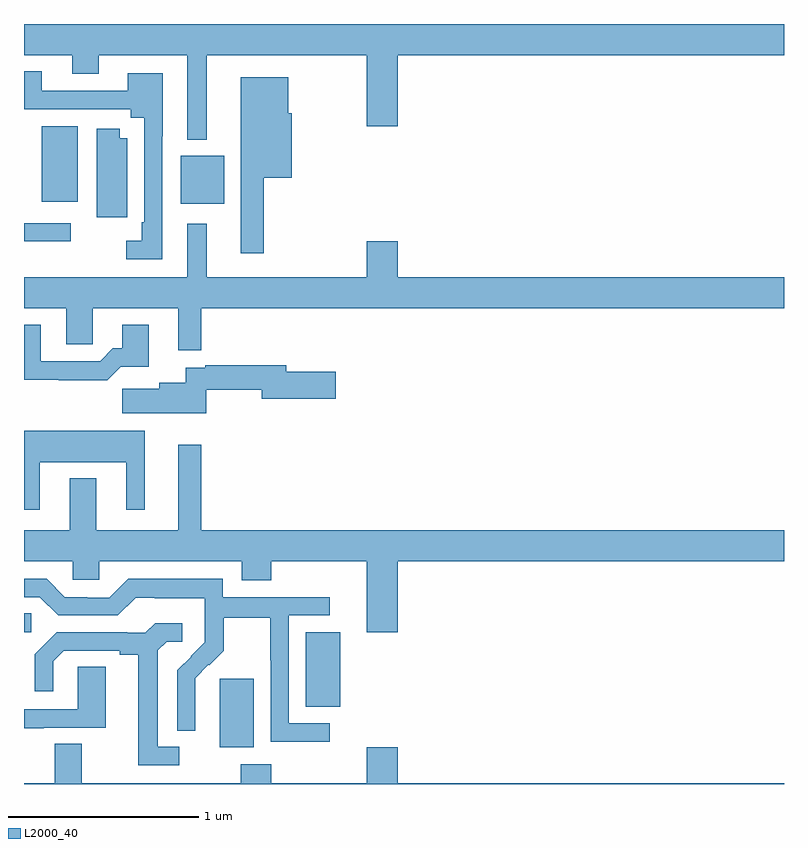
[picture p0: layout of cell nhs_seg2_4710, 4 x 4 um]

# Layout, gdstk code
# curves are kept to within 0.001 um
import gdstk
lib = gdstk.Library(unit=1e-6, precision=1e-09)
def R(c, l, rs):  # rectangles x0, y0, x1, y1
    for r in rs: c.add(gdstk.rectangle(r[:2], r[2:], *l))
def P(c, l, *ps):  # polygons
    for p in ps: c.add(gdstk.Polygon(p, *l))
L2000_40 = (2000, 40)

nhs_seg2_4710 = lib.new_cell('nhs_seg2_4710')
R(nhs_seg2_4710, L2000_40, [(368.03,643.994,368.209,644.355), (368.483,644.206,368.665,644.599), (367,644.598,367.039,644.699), (367,646.656,367.246,646.752), (367.826,646.853,368.053,647.107), (367.094,646.865,367.282,647.263)])
P(nhs_seg2_4710, L2000_40, [(367.963,647.636),(368.804,647.636),(368.804,647.262),(368.968,647.262),(368.968,647.636),(371,647.636),(371,647.8),(367,647.8),(367,647.636),(367.253,647.636),(367.253,647.537),(367.393,647.537),(367.393,647.636),(367.859,647.636),(367.859,647.192),(367.963,647.192)],
  [(367.728,647.21),(367.729,647.21),(367.729,647.542),(367.547,647.542),(367.547,647.448),(367.093,647.448),(367.093,647.551),(367,647.551),(367,647.352),(367.562,647.352),(367.562,647.306),(367.632,647.306),(367.632,646.756),(367.62,646.756),(367.62,646.659),(367.539,646.659),(367.539,646.563),(367.728,646.563)],
  [(368.263,646.991),(368.41,646.991),(368.41,647.331),(368.392,647.331),(368.392,647.521),(368.141,647.521),(368.141,646.593),(368.263,646.593)],
  [(367.543,647.2),(367.504,647.2),(367.504,647.249),(367.382,647.249),(367.382,646.782),(367.543,646.782)],
  [(367.933,646.304),(371,646.304),(371,646.468),(368.968,646.468),(368.968,646.657),(368.804,646.657),(368.804,646.468),(367.963,646.468),(367.963,646.75),(367.859,646.75),(367.859,646.468),(367,646.468),(367,646.304),(367.223,646.304),(367.223,646.114),(367.362,646.114),(367.362,646.304),(367.811,646.304),(367.811,646.083),(367.933,646.083)],
  [(367.508,645.995),(367.657,645.995),(367.657,646.216),(367.517,646.216),(367.517,646.093),(367.468,646.093),(367.401,646.026),(367.087,646.026),(367.087,646.216),(367,646.216),(367,645.928),(367.183,645.928),(367.183,645.926),(367.439,645.926)],
  [(367.96,645.874),(368.252,645.874),(368.252,645.827),(368.641,645.827),(368.641,645.969),(368.38,645.969),(368.38,646.003),(367.954,646.003),(367.954,645.99),(367.85,645.99),(367.85,645.913),(367.712,645.913),(367.712,645.881),(367.518,645.881),(367.518,645.752),(367.96,645.752)],
  [(367.084,645.494),(367.538,645.494),(367.538,645.243),(367.636,645.243),(367.636,645.658),(367,645.658),(367,645.243),(367.084,645.243)],
  [(368.968,644.972),(371,644.972),(371,645.136),(367.933,645.136),(367.933,645.586),(367.811,645.586),(367.811,645.136),(367.381,645.136),(367.381,645.409),(367.241,645.409),(367.241,645.136),(367,645.136),(367,644.972),(367.257,644.972),(367.257,644.874),(367.395,644.874),(367.395,644.972),(368.147,644.972),(368.147,644.873),(368.3,644.873),(368.3,644.972),(368.804,644.972),(368.804,644.598),(368.968,644.598)],
  [(368.608,644.121),(368.394,644.121),(368.394,644.688),(368.608,644.688),(368.608,644.784),(368.046,644.784),(368.046,644.881),(367.549,644.881),(367.449,644.781),(367.334,644.781),(367.334,644.784),(367.215,644.784),(367.119,644.88),(367,644.88),(367,644.784),(367.083,644.784),(367.179,644.688),(367.494,644.688),(367.587,644.781),(367.687,644.781),(367.687,644.777),(367.95,644.777),(367.95,644.643),(367.952,644.643),(367.952,644.546),(367.806,644.398),(367.806,644.08),(367.902,644.08),(367.901,644.357),(367.971,644.427),(367.974,644.424),(368.051,644.501),(368.051,644.676),(368.296,644.676),(368.296,644.452),(368.298,644.452),(368.298,644.023),(368.608,644.023)],
  [(367.816,643.995),(367.705,643.995),(367.705,644.503),(367.752,644.55),(367.834,644.55),(367.834,644.647),(367.69,644.647),(367.638,644.595),(367.544,644.595),(367.544,644.598),(367.172,644.598),(367.056,644.482),(367.056,644.289),(367.153,644.289),(367.153,644.445),(367.21,644.502),(367.505,644.502),(367.505,644.48),(367.601,644.48),(367.601,643.899),(367.816,643.899)],
  [(367.105,644.097),(367.429,644.097),(367.429,644.417),(367.284,644.417),(367.284,644.193),(367,644.193),(367,644.093),(367.105,644.093)],
  [(371,643.804),(368.968,643.804),(368.968,643.993),(368.804,643.993),(368.804,643.804),(368.3,643.804),(368.3,643.903),(368.14,643.903),(368.14,643.804),(367.303,643.804),(367.303,644.012),(367.163,644.012),(367.163,643.804),(367,643.804),(367,643.8),(371,643.8)])

lib.write_gds('nhs_seg2_4710.gds')
